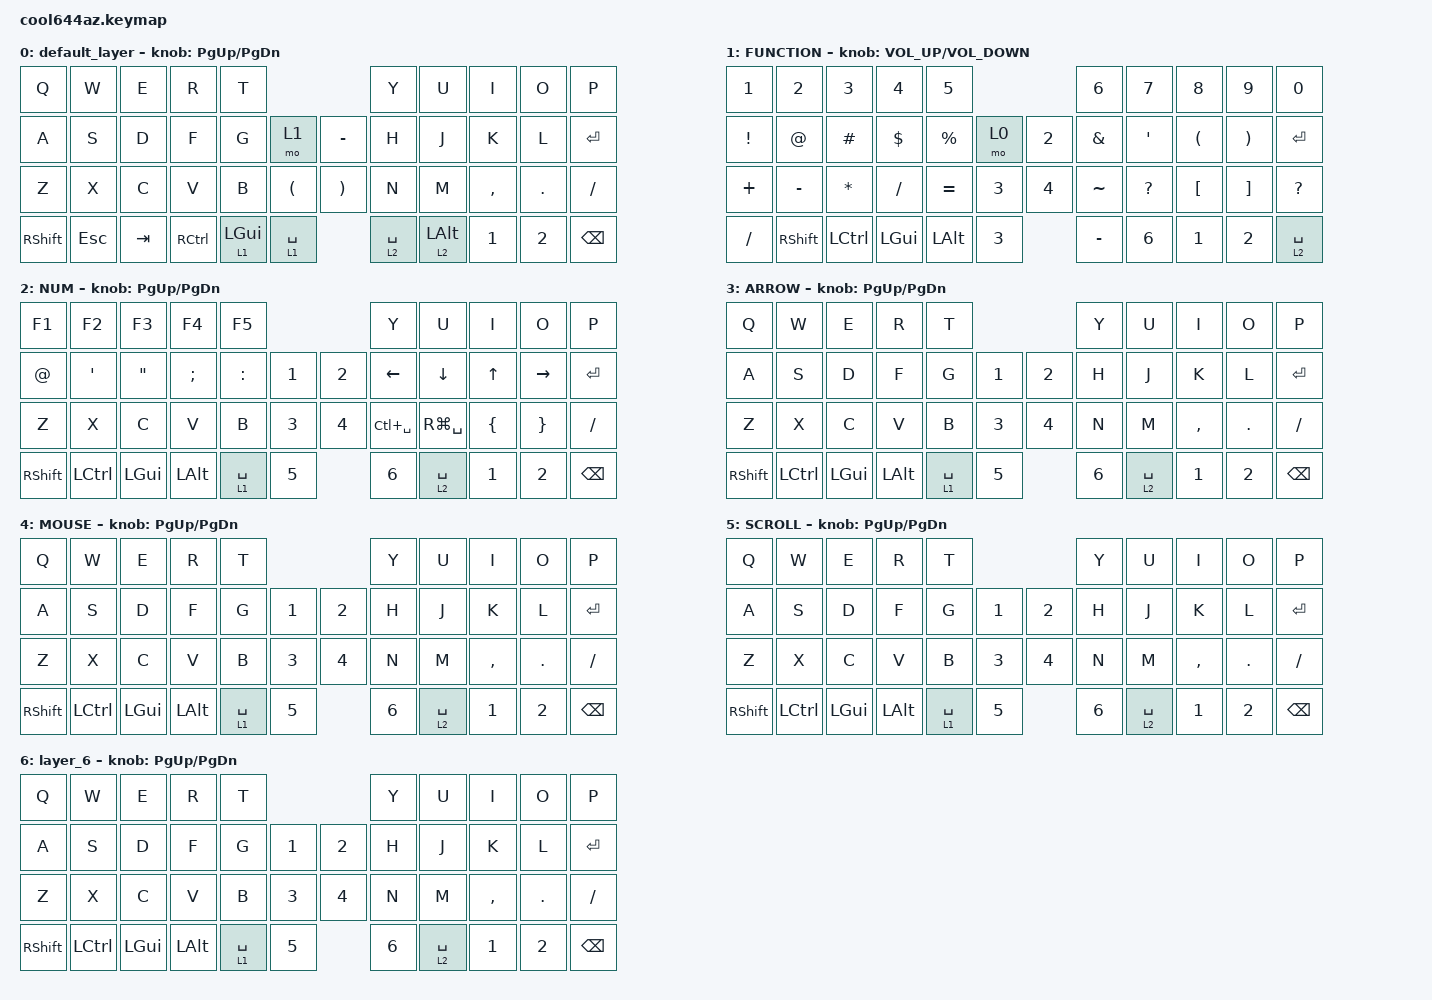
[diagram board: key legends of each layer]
#include <behaviors.dtsi>
#include <dt-bindings/zmk/keys.h>

#define MOUSE 4
#define SCROLL 5
#define NUM 6

&mt {
    flavor = "balanced";
    quick-tap-ms = <0>;
};

/ {
    combos {
        compatible = "zmk,combos";

        comb1 {
            bindings = <&kp TAB>;
            key-positions = <11 12>;
        };

        comb2 {
            bindings = <&kp LS(TAB)>;
            key-positions = <12 13>;
        };

        comb3 {
            bindings = <&to_layer_0 INT_MUHENKAN>;
            key-positions = <11 10>;
        };

        comb4 {
            bindings = <&kp DOUBLE_QUOTES>;
            key-positions = <20 21>;
        };

        comb5 {
            bindings = <&kp EQUAL>;
            key-positions = <24 25>;
        };
    };

    macros {
        to_layer_0: to_layer_0 {
            compatible = "zmk,behavior-macro-one-param";
            #binding-cells = <1>;
            bindings = <&to 0 &macro_param_1to1 &kp MACRO_PLACEHOLDER>;
            label = "TO_LAYER_0";
        };
    };

    behaviors {
        lt_to_layer_0: lt_to_layer_0 {
            compatible = "zmk,behavior-hold-tap";
            label = "LAYER_TAP_TO_0";
            bindings = <&mo>, <&to_layer_0>;

            #binding-cells = <2>;
            tapping-term-ms = <200>;
        };
    };

    keymap {
        compatible = "zmk,keymap";

        default_layer {
            bindings = <
&kp Q       &kp W       &kp E    &kp R      &kp T                                                        &kp Y           &kp U  &kp I      &kp O       &kp P
&kp A       &kp S       &kp D    &kp F      &kp G           &mo 1                 &kp MINUS              &kp H           &kp J  &kp K      &kp L       &kp ENTER
&kp Z       &kp X       &kp C    &kp V      &kp B           &kp LEFT_PARENTHESIS  &kp RIGHT_PARENTHESIS  &kp N           &kp M  &kp COMMA  &kp PERIOD  &kp SLASH
&kp RSHIFT  &kp ESCAPE  &kp TAB  &kp RCTRL  &lt 1 LEFT_GUI  &lt 1 SPACE           &lt 2 SPACE            &lt 2 LEFT_ALT  &kp N1 &kp N2                &kp BSPC
            >;

            sensor-bindings = <&inc_dec_kp PG_UP PAGE_DOWN>;
        };

        FUNCTION {
            bindings = <
&kp N1           &kp N2       &kp N3        &kp N4      &kp N5                          &kp N6         &kp N7        &kp N8                &kp N9                 &kp N0
&kp EXCLAMATION  &kp AT_SIGN  &kp HASH      &kp DOLLAR  &kp PERCENT  &mo 0   &kp N2     &kp AMPERSAND  &kp SQT       &kp LEFT_PARENTHESIS  &kp RIGHT_PARENTHESIS  &kp ENTER
&kp PLUS         &kp MINUS    &kp ASTERISK  &kp SLASH   &kp EQUAL    &kp N3  &kp N4     &kp TILDE      &kp QUESTION  &kp LEFT_BRACKET      &kp RIGHT_BRACKET      &kp QUESTION
&kp SLASH        &kp RSHIFT   &kp LCTRL     &kp LGUI    &kp LALT     &kp N3  &kp MINUS  &kp N6                       &kp N1 &kp N2                 &lt 2 SPACE
            >;

            sensor-bindings = <&inc_dec_kp C_VOLUME_UP C_VOLUME_DOWN>;
        };

        NUM {
            bindings = <
&kp F1       &kp F2     &kp F3             &kp F4         &kp F5                       &kp Y          &kp U           &kp I           &kp O            &kp P
&kp AT_SIGN  &kp SQT    &kp DOUBLE_QUOTES  &kp SEMICOLON  &kp COLON    &kp N1  &kp N2  &kp LEFT       &kp DOWN_ARROW  &kp UP_ARROW    &kp RIGHT        &kp ENTER
&kp Z        &kp X      &kp C              &kp V          &kp B        &kp N3  &kp N4  &kp LC(SPACE)  &kp RG(SPACE)   &kp LEFT_BRACE  &kp RIGHT_BRACE  &kp SLASH
&kp RSHIFT   &kp LCTRL  &kp LGUI           &kp LALT       &lt 1 SPACE  &kp N5  &kp N6  &lt 2 SPACE                      &kp N1 &kp N2                    &kp BSPC
            >;

            sensor-bindings = <&inc_dec_kp PG_UP PAGE_DOWN>;
        };

        ARROW {
            bindings = <
&kp Q       &kp W      &kp E     &kp R     &kp T                        &kp Y        &kp U  &kp I      &kp O       &kp P
&kp A       &kp S      &kp D     &kp F     &kp G        &kp N1  &kp N2  &kp H        &kp J  &kp K      &kp L       &kp ENTER
&kp Z       &kp X      &kp C     &kp V     &kp B        &kp N3  &kp N4  &kp N        &kp M  &kp COMMA  &kp PERIOD  &kp SLASH
&kp RSHIFT  &kp LCTRL  &kp LGUI  &kp LALT  &lt 1 SPACE  &kp N5  &kp N6  &lt 2 SPACE        &kp N1 &kp N2                   &kp BSPC
            >;

            sensor-bindings = <&inc_dec_kp PG_UP PAGE_DOWN>;
        };

        MOUSE {
            bindings = <
&kp Q       &kp W      &kp E     &kp R     &kp T                        &kp Y        &kp U  &kp I      &kp O       &kp P
&kp A       &kp S      &kp D     &kp F     &kp G        &kp N1  &kp N2  &kp H        &kp J  &kp K      &kp L       &kp ENTER
&kp Z       &kp X      &kp C     &kp V     &kp B        &kp N3  &kp N4  &kp N        &kp M  &kp COMMA  &kp PERIOD  &kp SLASH
&kp RSHIFT  &kp LCTRL  &kp LGUI  &kp LALT  &lt 1 SPACE  &kp N5  &kp N6  &lt 2 SPACE    &kp N1 &kp N2                  &kp BSPC
            >;

            sensor-bindings = <&inc_dec_kp PG_UP PAGE_DOWN>;
        };

        SCROLL {
            bindings = <
&kp Q       &kp W      &kp E     &kp R     &kp T                        &kp Y        &kp U  &kp I      &kp O       &kp P
&kp A       &kp S      &kp D     &kp F     &kp G        &kp N1  &kp N2  &kp H        &kp J  &kp K      &kp L       &kp ENTER
&kp Z       &kp X      &kp C     &kp V     &kp B        &kp N3  &kp N4  &kp N        &kp M  &kp COMMA  &kp PERIOD  &kp SLASH
&kp RSHIFT  &kp LCTRL  &kp LGUI  &kp LALT  &lt 1 SPACE  &kp N5  &kp N6  &lt 2 SPACE         &kp N1 &kp N2                  &kp BSPC
            >;

            sensor-bindings = <&inc_dec_kp PG_UP PAGE_DOWN>;
        };

        layer_6 {
            bindings = <
&kp Q       &kp W      &kp E     &kp R     &kp T                        &kp Y        &kp U  &kp I      &kp O       &kp P
&kp A       &kp S      &kp D     &kp F     &kp G        &kp N1  &kp N2  &kp H        &kp J  &kp K      &kp L       &kp ENTER
&kp Z       &kp X      &kp C     &kp V     &kp B        &kp N3  &kp N4  &kp N        &kp M  &kp COMMA  &kp PERIOD  &kp SLASH
&kp RSHIFT  &kp LCTRL  &kp LGUI  &kp LALT  &lt 1 SPACE  &kp N5  &kp N6  &lt 2 SPACE        &kp N1 &kp N2                  &kp BSPC
            >;

            sensor-bindings = <&inc_dec_kp PG_UP PAGE_DOWN>;
        };
    };
};
    behaviors {
        ms_up: mouse_up {
            compatible = "zmk,behavior-mouse";
            #binding-cells = <0>;
            movement = <1>;
        };
        ms_down: mouse_down {
            compatible = "zmk,behavior-mouse";
            #binding-cells = <0>;
            movement = <-1>;
        };
        ms_left: mouse_left {
            compatible = "zmk,behavior-mouse";
            #binding-cells = <0>;
            movement = <-1>;
        };
    };
};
